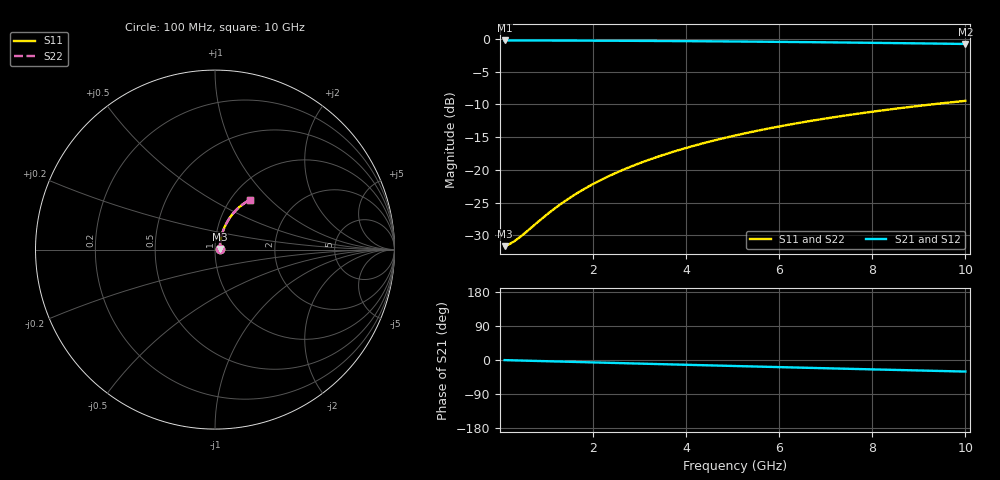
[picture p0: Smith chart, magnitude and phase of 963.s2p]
# Hz S RI R 50.00
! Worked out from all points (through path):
!   100 points, 100 MHz to 10 GHz, reference 50 ohm
!   highest |S21| = -0.23 dB at 100 MHz (marker M1); lowest = -0.8 dB at 10 GHz (marker M2)
!   group delay of S21, straight-line fit = 8.5 ps
!   lowest |S11| = -31.7 dB at 100 MHz (marker M3), VSWR 1.05, Z = 52.7 + j0.372 ohm
!   |S11| at or under -10 dB: start of sweep to 9.276 GHz
!   |S22| runs from -31.7 to -9.5 dB; largest |S21 - S12| = 0
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1e8  0.0259 0.00353  0.9741 -0.0054  0.9741 -0.0054  0.0259 0.00353
2e8  0.0261 0.00706  0.9739 -0.0108  0.9739 -0.0108  0.0261 0.00706
3e8  0.0263 0.0106  0.9736 -0.0162  0.9736 -0.0162  0.0263 0.0106
4e8  0.0266 0.0141  0.9734 -0.0216  0.9734 -0.0216  0.0266 0.0141
9e8  0.0282 0.0317  0.9716 -0.0485  0.9716 -0.0485  0.0282 0.0317
1.2e9  0.0296 0.0421  0.9701 -0.0646  0.9701 -0.0646  0.0296 0.0421
1.5e9  0.0313 0.0525  0.9683 -0.0806  0.9683 -0.0806  0.0313 0.0525
1.8e9  0.0333 0.0629  0.9661 -0.0966  0.9661 -0.0966  0.0333 0.0629
2.1e9  0.0357 0.0731  0.9635 -0.1125  0.9635 -0.1125  0.0357 0.0731
2.5e9  0.0393 0.0866  0.9595 -0.1335  0.9595 -0.1335  0.0393 0.0866
2.9e9  0.0435 0.0999  0.9549 -0.1543  0.9549 -0.1543  0.0435 0.0999
3.4e9  0.0496 0.1162  0.9483 -0.18  0.9483 -0.18  0.0496 0.1162
3.8e9  0.055 0.1289  0.9423 -0.2002  0.9423 -0.2002  0.055 0.1289
4.2e9  0.061 0.1414  0.9358 -0.2201  0.9358 -0.2201  0.061 0.1414
4.6e9  0.0675 0.1535  0.9286 -0.2398  0.9286 -0.2398  0.0675 0.1535
5.1e9  0.0763 0.1681  0.919 -0.2638  0.919 -0.2638  0.0763 0.1681
5.9e9  0.0918 0.1903  0.9019 -0.3011  0.9019 -0.3011  0.0918 0.1903
6.7e9  0.109 0.2109  0.8829 -0.3368  0.8829 -0.3368  0.109 0.2109
7.5e9  0.1276 0.2297  0.8622 -0.3707  0.8622 -0.3707  0.1276 0.2297
8.4e9  0.1499 0.2486  0.8372 -0.4068  0.8372 -0.4068  0.1499 0.2486
9.2e9  0.1709 0.2635  0.8137 -0.4369  0.8137 -0.4369  0.1709 0.2635
1e10  0.1926 0.2764  0.7891 -0.465  0.7891 -0.465  0.1926 0.2764
